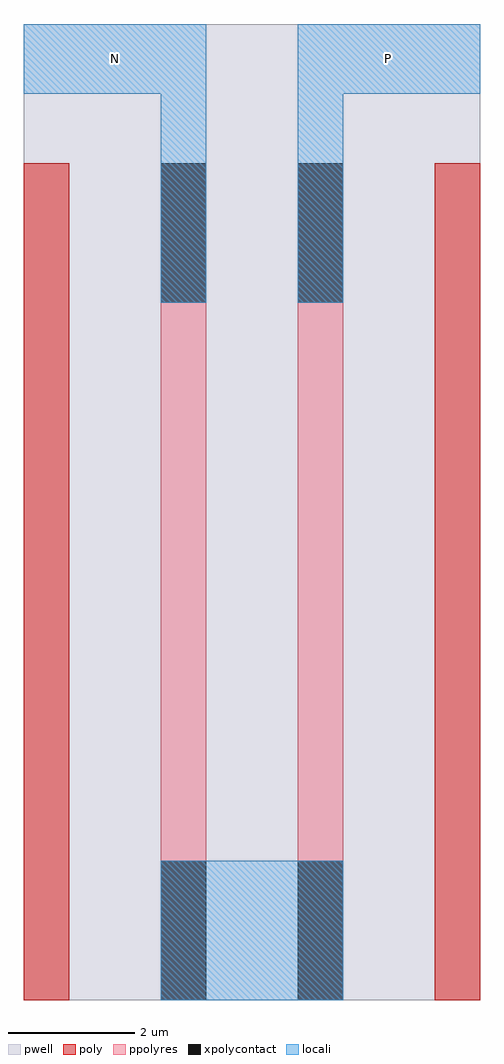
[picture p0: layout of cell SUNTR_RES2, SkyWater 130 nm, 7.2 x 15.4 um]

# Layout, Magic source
magic
tech sky130A
magscale 1 2
<< ppolyres >>
rect 360 -110 504 110
rect 792 -110 936 110
rect 360 110 504 330
rect 792 110 936 330
rect 360 330 504 550
rect 792 330 936 550
rect 360 550 504 770
rect 792 550 936 770
rect 360 770 504 990
rect 792 770 936 990
rect 360 990 504 1210
rect 792 990 936 1210
rect 360 1210 504 1430
rect 792 1210 936 1430
rect 360 1430 504 1650
rect 792 1430 936 1650
rect 360 1650 504 1870
rect 792 1650 936 1870
rect 360 1870 504 2090
rect 792 1870 936 2090
rect 360 2090 504 2310
rect 792 2090 936 2310
rect 360 2310 504 2530
rect 792 2310 936 2530
<< poly >>
rect -72 -110 72 110
rect 1224 -110 1368 110
rect -72 110 72 330
rect 1224 110 1368 330
rect -72 330 72 550
rect 1224 330 1368 550
rect -72 550 72 770
rect 1224 550 1368 770
rect -72 770 72 990
rect 1224 770 1368 990
rect -72 990 72 1210
rect 1224 990 1368 1210
rect -72 1210 72 1430
rect 1224 1210 1368 1430
rect -72 1430 72 1650
rect 1224 1430 1368 1650
rect -72 1650 72 1870
rect 1224 1650 1368 1870
rect -72 1870 72 2090
rect 1224 1870 1368 2090
rect -72 2090 72 2310
rect 1224 2090 1368 2310
rect -72 2310 72 2530
rect 1224 2310 1368 2530
<< xpolycontact >>
rect 360 -110 504 110
rect 792 -110 936 110
rect 360 110 504 330
rect 792 110 936 330
rect 360 2090 504 2310
rect 792 2090 936 2310
rect 360 2310 504 2530
rect 792 2310 936 2530
<< locali >>
rect 360 -110 936 110
rect 360 110 936 330
rect 360 2090 504 2310
rect 792 2090 936 2310
rect 360 2310 504 2530
rect 792 2310 936 2530
rect 360 2530 504 2750
rect 792 2530 936 2750
rect -72 2750 504 2970
rect -72 2750 504 2970
rect 792 2750 1368 2970
rect 792 2750 1368 2970
<< pwell >>
rect -72 -110 1368 2970
<< labels >>
flabel locali s -72 2750 504 2970 0 FreeSans 400 0 0 0 N
port 1 nsew
flabel locali s 792 2750 1368 2970 0 FreeSans 400 0 0 0 P
port 2 nsew
<< end >>
